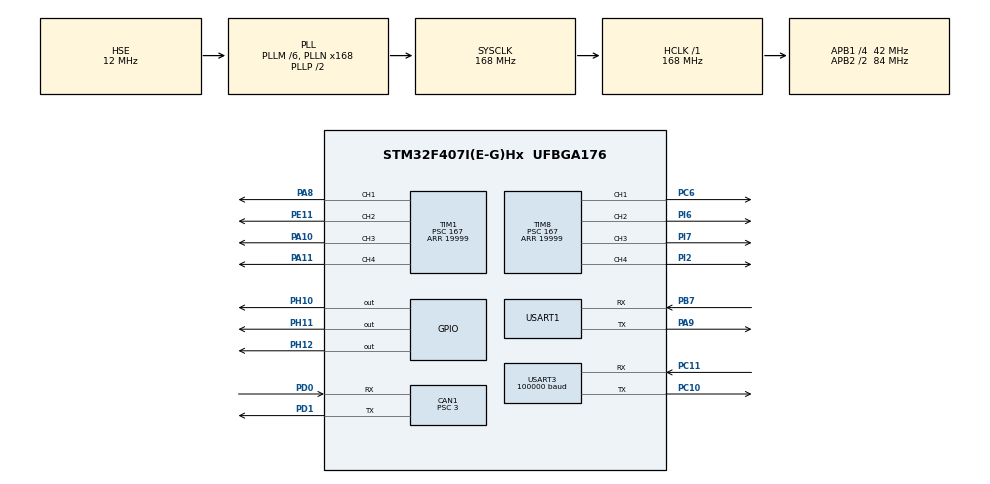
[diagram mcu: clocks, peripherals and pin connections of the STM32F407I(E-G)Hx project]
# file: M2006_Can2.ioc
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CAN1.BS1=CAN_BS1_10TQ
CAN1.BS2=CAN_BS2_3TQ
CAN1.CalculateBaudRate=1000000
CAN1.CalculateTimeBit=1000
CAN1.CalculateTimeQuantum=71.42857142857143
CAN1.Prescaler=3
Dma.Request0=USART3_RX
Dma.Request1=USART1_TX
Dma.USART1_TX.1.Direction=DMA_MEMORY_TO_PERIPH
Dma.USART1_TX.1.FIFOMode=DMA_FIFOMODE_DISABLE
Dma.USART1_TX.1.Instance=DMA2_Stream7
Dma.USART1_TX.1.MemDataAlignment=DMA_MDATAALIGN_BYTE
Dma.USART1_TX.1.MemInc=DMA_MINC_ENABLE
Dma.USART1_TX.1.Mode=DMA_CIRCULAR
Dma.USART1_TX.1.PeriphDataAlignment=DMA_PDATAALIGN_BYTE
Dma.USART1_TX.1.PeriphInc=DMA_PINC_DISABLE
Dma.USART1_TX.1.Priority=DMA_PRIORITY_VERY_HIGH
Dma.USART3_RX.0.Direction=DMA_PERIPH_TO_MEMORY
Dma.USART3_RX.0.FIFOMode=DMA_FIFOMODE_DISABLE
Dma.USART3_RX.0.Instance=DMA1_Stream1
Dma.USART3_RX.0.MemDataAlignment=DMA_MDATAALIGN_BYTE
Dma.USART3_RX.0.MemInc=DMA_MINC_ENABLE
Dma.USART3_RX.0.Mode=DMA_CIRCULAR
Dma.USART3_RX.0.PeriphDataAlignment=DMA_PDATAALIGN_BYTE
Dma.USART3_RX.0.PeriphInc=DMA_PINC_DISABLE
Dma.USART3_RX.0.Priority=DMA_PRIORITY_VERY_HIGH
Mcu.Family=STM32F4
Mcu.Name=STM32F407I(E-G)Hx
Mcu.Package=UFBGA176
NVIC.CAN1_RX0_IRQn=true\:0\:0\:false\:false\:true\:true\:true\:true
NVIC.DMA1_Stream1_IRQn=true\:0\:0\:false\:false\:true\:false\:true\:true
NVIC.DMA2_Stream7_IRQn=true\:0\:0\:false\:false\:true\:false\:true\:true
NVIC.PriorityGroup=NVIC_PRIORITYGROUP_4
NVIC.USART1_IRQn=true\:0\:0\:false\:false\:true\:true\:true\:true
NVIC.USART3_IRQn=true\:0\:0\:false\:false\:true\:true\:true\:true
PA10.Signal=S_TIM1_CH3
PA11.Signal=S_TIM1_CH4
PA13.Mode=Serial_Wire
PA13.Signal=SYS_JTMS-SWDIO
PA14.Mode=Serial_Wire
PA14.Signal=SYS_JTCK-SWCLK
PA8.Signal=S_TIM1_CH1
PA9.Mode=Asynchronous
PA9.Signal=USART1_TX
PB7.Mode=Asynchronous
PB7.Signal=USART1_RX
PC10.Mode=Asynchronous
PC10.Signal=USART3_TX
PC11.Mode=Asynchronous
PC11.Signal=USART3_RX
PC6.Signal=S_TIM8_CH1
PD0.Mode=CAN_Activate
PD0.Signal=CAN1_RX
PD1.Mode=CAN_Activate
PD1.Signal=CAN1_TX
PE11.Signal=S_TIM1_CH2
PH0-OSC_IN.Mode=HSE-External-Oscillator
PH0-OSC_IN.Signal=RCC_OSC_IN
PH1-OSC_OUT.Mode=HSE-External-Oscillator
PH1-OSC_OUT.Signal=RCC_OSC_OUT
PH10.Signal=GPIO_Output
PH11.Signal=GPIO_Output
PH12.Signal=GPIO_Output
PI2.Signal=S_TIM8_CH4
PI6.Signal=S_TIM8_CH2
PI7.Signal=S_TIM8_CH3
ProjectManager.HeapSize=0x200
ProjectManager.StackSize=0x400
ProjectManager.TargetToolchain=MDK-ARM V5
RCC.48MHZClocksFreq_Value=84000000
RCC.AHBFreq_Value=168000000
RCC.APB1CLKDivider=RCC_HCLK_DIV4
RCC.APB1Freq_Value=42000000
RCC.APB1TimFreq_Value=84000000
RCC.APB2CLKDivider=RCC_HCLK_DIV2
RCC.APB2Freq_Value=84000000
RCC.APB2TimFreq_Value=168000000
RCC.CortexFreq_Value=168000000
RCC.HCLKFreq_Value=168000000
RCC.HSE_VALUE=12000000
RCC.HSI_VALUE=16000000
RCC.LSE_VALUE=32768
RCC.PLLM=6
RCC.PLLN=168
RCC.PLLSourceVirtual=RCC_PLLSOURCE_HSE
RCC.SYSCLKFreq_VALUE=168000000
RCC.SYSCLKSource=RCC_SYSCLKSOURCE_PLLCLK
RCC.VCOOutputFreq_Value=336000000
SH.S_TIM1_CH1.0=TIM1_CH1,PWM Generation1 CH1
SH.S_TIM1_CH2.0=TIM1_CH2,PWM Generation2 CH2
SH.S_TIM1_CH3.0=TIM1_CH3,PWM Generation3 CH3
SH.S_TIM1_CH4.0=TIM1_CH4,PWM Generation4 CH4
SH.S_TIM8_CH1.0=TIM8_CH1,PWM Generation1 CH1
SH.S_TIM8_CH2.0=TIM8_CH2,PWM Generation2 CH2
SH.S_TIM8_CH3.0=TIM8_CH3,PWM Generation3 CH3
SH.S_TIM8_CH4.0=TIM8_CH4,PWM Generation4 CH4
TIM1.Channel-PWM\ Generation1\ CH1=TIM_CHANNEL_1
TIM1.Channel-PWM\ Generation2\ CH2=TIM_CHANNEL_2
TIM1.Channel-PWM\ Generation3\ CH3=TIM_CHANNEL_3
TIM1.Channel-PWM\ Generation4\ CH4=TIM_CHANNEL_4
TIM1.Period=19999
TIM1.Prescaler=167
TIM1.Pulse-PWM\ Generation1\ CH1=2000
TIM1.Pulse-PWM\ Generation2\ CH2=2000
TIM1.Pulse-PWM\ Generation3\ CH3=2000
TIM1.Pulse-PWM\ Generation4\ CH4=2000
TIM8.Channel-PWM\ Generation1\ CH1=TIM_CHANNEL_1
TIM8.Channel-PWM\ Generation2\ CH2=TIM_CHANNEL_2
TIM8.Channel-PWM\ Generation3\ CH3=TIM_CHANNEL_3
TIM8.Channel-PWM\ Generation4\ CH4=TIM_CHANNEL_4
TIM8.Period=19999
TIM8.Prescaler=167
TIM8.Pulse-PWM\ Generation1\ CH1=1000
TIM8.Pulse-PWM\ Generation2\ CH2=1000
TIM8.Pulse-PWM\ Generation3\ CH3=2000
TIM8.Pulse-PWM\ Generation4\ CH4=2000
USART1.VirtualMode=VM_ASYNC
USART3.BaudRate=100000
USART3.Mode=MODE_RX
USART3.VirtualMode=VM_ASYNC
VP_TIM1_VS_ClockSourceINT.Mode=Internal
VP_TIM8_VS_ClockSourceINT.Mode=Internal
board=custom

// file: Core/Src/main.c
/* USER CODE BEGIN Header */
/**
  ******************************************************************************
  * @file           : main.c
  * @brief          : Main program body
  ******************************************************************************
  * @attention
  *
  * <h2><center>&copy; Copyright (c) 2021 STMicroelectronics.
  * All rights reserved.</center></h2>
  *
  * This software component is licensed by ST under BSD 3-Clause license,
  * the "License"; You may not use this file except in compliance with the
  * License. You may obtain a copy of the License at:
  *                        opensource.org/licenses/BSD-3-Clause
  *
  ******************************************************************************
  */
/* USER CODE END Header */
#include "main.h"
#include "can.h"
#include "dma.h"
#include "tim.h"
#include "usart.h"
#include "gpio.h"

/* USER CODE BEGIN Includes */
#include "stdio.h"
#include "remote_control.h"
#include "stdarg.h"
#include "bsp_rc.h"
#include "bsp_usart.h"
#include "pid.h"
#include "string.h"
#include "stdlib.h"
/* USER CODE END Includes */

/* USER CODE BEGIN PD */

//获取底盘电机的数据函数
#define get_motor_measure(ptr, data)                                    \
{                                                                   \
		(ptr)->last_ecd = (ptr)->ecd;                                   \
		(ptr)->ecd = (uint16_t)((data)[0] << 8 | (data)[1]);            \
		(ptr)->speed_rpm = (uint16_t)((data)[2] << 8 | (data)[3]);     \
		(ptr)->given_current = (uint16_t)((data)[4] << 8 | (data)[5]);  \
		(ptr)->temperate = (data)[6];                                   \
}
/* USER CODE END PD */

/* USER CODE BEGIN PM */

extern DMA_HandleTypeDef hdma_usart3_rx;
extern DMA_HandleTypeDef hdma_usart1_tx;
const RC_ctrl_t *local_rc_ctrl;
static CAN_TxHeaderTypeDef  Tx_message;
 uint8_t Send_data[8];

/*底盘电机id的结构体*/
 typedef enum
{
    CAN_CHASSIS_ALL_ID = 0x200,
    CAN_3508_M1_ID = 0x201,
    CAN_3508_M2_ID = 0x202,
    CAN_3508_M3_ID = 0x203,
    CAN_3508_M4_ID = 0x204,

    CAN_YAW_MOTOR_ID = 0x205,
    CAN_PIT_MOTOR_ID = 0x206,
    CAN_TRIGGER_MOTOR_ID = 0x207,
    CAN_GIMBAL_ALL_ID = 0x1FF,

} can_msg_id_e;

//底盘电机返回数据的结构体
typedef struct
{
	uint16_t ecd;
	int16_t speed_rpm;
	int16_t given_current;
	uint8_t temperate;
	int16_t last_ecd;
}motor_measure_t;

motor_measure_t motor_chassis[7];
/* USER CODE END PM */

void SystemClock_Config(void);

/* USER CODE BEGIN 0 */

//拨弹电机设置电流的函数
void CAN_current(int16_t motor1, int16_t motor2, int16_t motor3, int16_t motor4)
{
		uint32_t Send_mail_box;
		Tx_message.StdId = CAN_GIMBAL_ALL_ID;
    Tx_message.IDE = CAN_ID_STD;
    Tx_message.RTR = CAN_RTR_DATA;
    Tx_message.DLC = 0x08;
		Send_data[0] = motor1 >> 8;
		Send_data[1] = motor1;
		Send_data[2] = motor2 >> 8;
		Send_data[3] = motor2;
		Send_data[4] = motor3 >> 8;
		Send_data[5] = motor3;
		Send_data[6] = motor4 >> 8;
		Send_data[7] = motor4;

		HAL_CAN_AddTxMessage(&hcan1, &Tx_message, Send_data, &Send_mail_box);
}

//地盘电机设置电流的函数
void CAN_chassis_current(int16_t motor1, int16_t motor2, int16_t motor3, int16_t motor4)
{
		uint32_t Send_mail_box;
		Tx_message.StdId = CAN_CHASSIS_ALL_ID;
    Tx_message.IDE = CAN_ID_STD;
    Tx_message.RTR = CAN_RTR_DATA;
    Tx_message.DLC = 0x08;
		Send_data[0] = motor1 >> 8;
		Send_data[1] = motor1;
		Send_data[2] = motor2 >> 8;
		Send_data[3] = motor2;
		Send_data[4] = motor3 >> 8;
		Send_data[5] = motor3;
		Send_data[6] = motor4 >> 8;
		Send_data[7] = motor4;

		HAL_CAN_AddTxMessage(&hcan1, &Tx_message, Send_data, &Send_mail_box);
}

//接收底盘电机实时数据的函数
void HAL_CAN_RxFifo0MsgPendingCallback(CAN_HandleTypeDef*hcan)
{
	CAN_RxHeaderTypeDef rx_header;
	uint8_t rx_data[8];

	HAL_CAN_GetRxMessage(hcan,CAN_RX_FIFO0,&rx_header,rx_data);

	switch(rx_header.StdId)
	{
		case CAN_3508_M1_ID:
    case CAN_3508_M2_ID:
    case CAN_3508_M3_ID:
    case CAN_3508_M4_ID:
		case CAN_YAW_MOTOR_ID:
    case CAN_PIT_MOTOR_ID:
    case CAN_TRIGGER_MOTOR_ID:
		{
			static uint8_t i = 0;
			i = rx_header.StdId - CAN_3508_M1_ID;
			get_motor_measure(&motor_chassis[i],rx_data);
			break;
		}

		default:
		{
			break;
		}
	}
}

//电机滤波器设置
void can_filter_init(void)
{

    CAN_FilterTypeDef can_filter_st;
    can_filter_st.FilterActivation = ENABLE;
    can_filter_st.FilterMode = CAN_FILTERMODE_IDMASK;
    can_filter_st.FilterScale = CAN_FILTERSCALE_32BIT;
    can_filter_st.FilterIdHigh = 0x0000;
    can_filter_st.FilterIdLow = 0x0000;
    can_filter_st.FilterMaskIdHigh = 0x0000;
    can_filter_st.FilterMaskIdLow = 0x0000;
    can_filter_st.FilterBank = 0;
    can_filter_st.FilterFIFOAssignment = CAN_RX_FIFO0;
    HAL_CAN_ConfigFilter(&hcan1, &can_filter_st);
    HAL_CAN_Start(&hcan1);
    HAL_CAN_ActivateNotification(&hcan1, CAN_IT_RX_FIFO0_MSG_PENDING);

    can_filter_st.SlaveStartFilterBank = 14;
    can_filter_st.FilterBank = 14;

}

motor_measure_t* get_chassis_motor_measure_point(uint8_t i)
{
    return &motor_chassis[(i & 0x03)];
}

float dma_control(uint16_t i)
{
	float speed;
	speed = (float)local_rc_ctrl->rc.ch[i] / 2;
	return speed;

}

float dma_data(uint16_t i)
{
	float speed;
	speed = (float)local_rc_ctrl->rc.ch[i] * 4;
	return speed;

}

void fric_off(void)
{
    __HAL_TIM_SetCompare(&htim1, TIM_CHANNEL_1,1500);
    __HAL_TIM_SetCompare(&htim1, TIM_CHANNEL_2, 1500);
    __HAL_TIM_SetCompare(&htim1, TIM_CHANNEL_3, 1500);
    __HAL_TIM_SetCompare(&htim1, TIM_CHANNEL_4, 1500);
    __HAL_TIM_SetCompare(&htim8, TIM_CHANNEL_1, 1000);
    __HAL_TIM_SetCompare(&htim8, TIM_CHANNEL_2, 1000);
    //__HAL_TIM_SetCompare(&htim8, TIM_CHANNEL_3, 1000);
	__HAL_TIM_SetCompare(&htim8, TIM_CHANNEL_3, 1000);
}
void fric_on(uint16_t cmd)
{
    __HAL_TIM_SetCompare(&htim1, TIM_CHANNEL_1, cmd);
    __HAL_TIM_SetCompare(&htim1, TIM_CHANNEL_2, cmd);
    __HAL_TIM_SetCompare(&htim1, TIM_CHANNEL_3, cmd);
    __HAL_TIM_SetCompare(&htim1, TIM_CHANNEL_4, cmd);
    __HAL_TIM_SetCompare(&htim8, TIM_CHANNEL_1, cmd);
    __HAL_TIM_SetCompare(&htim8, TIM_CHANNEL_2, cmd);
    __HAL_TIM_SetCompare(&htim8, TIM_CHANNEL_3, cmd);
}

double pwm_control_data1()
{
	double date;
	date = 1400 + (double)local_rc_ctrl->rc.ch[2] * 26.0 / 33;
	if(date < 1080)
	{
		date = 1080;
	}
	return date;

}
double pwm_control_data2()
{
	double date;
	date = 1450 + (double)local_rc_ctrl->rc.ch[3] * 4.0 / 11;

	return date;

}

uint8_t RxData[30];
uint8_t TxData[30] = "no picture";
uint8_t rx_up[3];
uint8_t rx_left[3];
uint8_t rx_down[3];
uint8_t rx_right[3];
uint16_t temp_rx[4];

double auto_control_y()
{
	double date;
	date = 1500 + (240 - (double)(temp_rx[0] + temp_rx[2]) / 2) / 2;
	return date;
}

double auto_control_x()
{
	double date;
	date = 1400 + (320 - (double)(temp_rx[1] + temp_rx[3]) / 2) / 2;
	return date;
}

void HAL_UART_RxCpltCallback(UART_HandleTypeDef *huart)
{
	if(huart->Instance == USART1)
	{
		temp_rx[0] = 0;
		temp_rx[1] = 0;
		temp_rx[2] = 0;
		temp_rx[3] = 0;

		if(strcmp(RxData, "  0   0   0   0") == 0)
		{
				HAL_UART_Transmit(&huart1, TxData, sizeof(TxData), 10000);
		}
		else{
				HAL_UART_Transmit(&huart1, RxData, sizeof(RxData), 10000);
			for(uint16_t i = 0, j = 100; i < 3; i++)
					{
						rx_up[i] = RxData[i];
						if(rx_up[i] <= '9' && rx_up[i] >= '0')
						{
							temp_rx[0] += (rx_up[i] - 48) * j;
							j /= 10;
						}
						else{
							j /= 10;
							continue;
						}
					}
					for(uint16_t i = 4, j = 100; i < 7; i++)
					{
						rx_left[i - 4] = RxData[i];
						if(rx_left[i - 4] <= '9' && rx_left[i - 4] >= '0')
						{
							temp_rx[1] += (rx_left[i - 4] - 48) * j;
							j /= 10;
						}
						else{
							j /= 10;
							continue;
						}
					}
					for(uint16_t i = 8, j = 100; i < 11; i++)
					{
						rx_down[i - 8] = RxData[i];
						if(rx_down[i - 8] <= '9' && rx_down[i - 8] >= '0')
						{
							temp_rx[2] += (rx_down[i - 8] - 48) * j;
							j /= 10;
						}
						else{
							j /= 10;
							continue;
						}
					}
					for(uint16_t i = 12, j = 100; i < 15; i++)
					{
						rx_right[i - 12] = RxData[i];
						if(rx_right[i - 12] <= '9' && rx_right[i - 12] >= '0')
						{
							temp_rx[3] += (rx_right[i - 12] - 48) * j;
							j /= 10;
						}
						else{
							j /= 10;
							continue;
						}
					}
//					if(temp_rx[0] == 110 && temp_rx[1] == 222)
//					{
//						HAL_GPIO_WritePin(GPIOH, GPIO_PIN_10, GPIO_PIN_SET);
//						HAL_GPIO_WritePin(GPIOH, GPIO_PIN_11, GPIO_PIN_SET);
//						HAL_GPIO_WritePin(GPIOH, GPIO_PIN_12, GPIO_PIN_SET);
//					}
//					else
//					{
//						HAL_UART_Transmit(&huart1, "arror\n", sizeof("arror\n"), 10000);
//					}
					__HAL_TIM_SetCompare(&htim1,TIM_CHANNEL_1, auto_control_y());
				__HAL_TIM_SetCompare(&htim1,TIM_CHANNEL_2, auto_control_y());
				__HAL_TIM_SetCompare(&htim1,TIM_CHANNEL_3, auto_control_y());
				__HAL_TIM_SetCompare(&htim1,TIM_CHANNEL_4, auto_control_y());

				__HAL_TIM_SetCompare(&htim8,TIM_CHANNEL_3, auto_control_x());
		}
	}
}

/* USER CODE END 0 */

int main(void)
{
  /* USER CODE BEGIN 1 */
	pid_t pid_speed[4];		   //电机速度PID环
	float set_speed_temp;			   //加减速时的临时设定速度
	int16_t delta;					   //设定速度与实际速度的差值
	int16_t max_speed_change = 1000;   //电机单次最大变化速度，加减速用
									   // 500经测试差不多是最大加速区间，即从零打到最大速度不异常的最大值
	static float set_speed[4]; //电机速度全局变量

  /* USER CODE END 1 */

  /* MCU Configuration--------------------------------------------------------*/

  /* Reset of all peripherals, Initializes the Flash interface and the Systick. */
  HAL_Init();

  /* Configure the system clock */
  SystemClock_Config();

  /* Initialize all configured peripherals */
  MX_GPIO_Init();
  MX_DMA_Init();
  MX_USART3_UART_Init();
  MX_USART1_UART_Init();
  MX_CAN1_Init();
  MX_TIM1_Init();
  MX_TIM8_Init();
  /* USER CODE BEGIN 2 */

	HAL_TIM_Base_Start(&htim1);
    HAL_TIM_PWM_Start(&htim1, TIM_CHANNEL_1);
    HAL_TIM_PWM_Start(&htim1, TIM_CHANNEL_2);
    HAL_TIM_PWM_Start(&htim1, TIM_CHANNEL_3);
		HAL_TIM_PWM_Start(&htim1, TIM_CHANNEL_4);
    HAL_TIM_Base_Start(&htim8);
    HAL_TIM_PWM_Start(&htim8, TIM_CHANNEL_1);
    HAL_TIM_PWM_Start(&htim8, TIM_CHANNEL_2);
    HAL_TIM_PWM_Start(&htim8, TIM_CHANNEL_3);
	fric_off();
	HAL_Delay(300);
	__HAL_TIM_SetCompare(&htim8,TIM_CHANNEL_3, 1400);
	__HAL_TIM_SetCompare(&htim1,TIM_CHANNEL_2, 1450);

	can_filter_init();
	HAL_CAN_Start(&hcan1);
		remote_control_init();
    usart1_tx_dma_init();
    local_rc_ctrl = get_remote_control_point();
		//set_speed[0] = 	set_speed[1] = 	set_speed[2] = 	set_speed[3] = 	-200;

//		while(switch_is_up(local_rc_ctrl->rc.s[0]))
//    {
//        fric_on(2000);
//        if(local_rc_ctrl->rc.ch[3] > 600)
//        {
//            fric_on(1000);
//            break;
//        }
//    }

		for (uint16_t i = 0; i < 4; i++)
	{
		PID_struct_init(&pid_speed[i], POSITION_PID, 2000, 2000, 5.0f, 0.1f, 0.0f); //4 motos angular rate closeloop.
	}

  /* USER CODE END 2 */

  /* Infinite loop */
  /* USER CODE BEGIN WHILE */
	int tempPWMvar1 = 1200;
	int tempPWMvar2 = 1500;
	int tempPWMFlagVar = 1;
	int positionPitchNum = 1000;
	int basicCountRE = 0;
	int basicCountFlag = 0;
	uint8_t UART1TransmitNum[20] = {64};
	uint8_t UART1TransmitNumTemp[20] = {0};
	float positionPitchNumF = 0;
				HAL_GPIO_WritePin(GPIOH,GPIO_PIN_10,GPIO_PIN_SET);
				HAL_GPIO_WritePin(GPIOH,GPIO_PIN_11,GPIO_PIN_RESET);

  while (1)
  {
	  /*
	  HAL_Delay(1000);
	  tempPWMFlagVar++;
	  if(tempPWMFlagVar >= 3){
		  __HAL_TIM_SetCompare(&htim8, TIM_CHANNEL_3, tempPWMvar1);
		  tempPWMFlagVar = 1;
	  }else{
		  __HAL_TIM_SetCompare(&htim8, TIM_CHANNEL_3, tempPWMvar2);

	  }
	  */

		if(switch_is_down(local_rc_ctrl->rc.s[1]))
		{
			if(local_rc_ctrl->rc.s[0] == 1)
			{
				set_speed[0] = 	set_speed[1] = 	set_speed[2] = 	set_speed[3] = 	dma_data(0);
				set_speed[0] += dma_control(3);
				set_speed[2] += dma_control(3);
			}
			else if(local_rc_ctrl->rc.s[0] == 2)
			{
				//set_speed[0] = 	set_speed[1] = 	set_speed[2] = 	set_speed[3] = dma_data(0);
			set_speed[0] = 	set_speed[3] = dma_data(1);
				set_speed[1] = 	set_speed[2] = -dma_data(3);
			}
			else if(local_rc_ctrl->rc.s[0] == 3)
			{
				set_speed[0] = 	-dma_data(3) + dma_data(2) + dma_data(0);
				set_speed[1] = 	dma_data(3) + dma_data(2) + dma_data(0);
				set_speed[2] = 	dma_data(3) - dma_data(2) + dma_data(0);
				set_speed[3] = 	-dma_data(3) - dma_data(2) + dma_data(0);
			}
				// 无加减速
				//pid_calc(&pid_speed[i], (float)moto_chassis[i].speed_rpm, set_speed[i]);

				//加减速
			for (uint16_t i = 0; i < 5; i++)
			{
				delta = (int16_t)set_speed[i] - motor_chassis[i].speed_rpm;
				if (delta > max_speed_change)
					set_speed_temp = (float)(motor_chassis[i].speed_rpm + max_speed_change);
				else if (delta < -max_speed_change)
					set_speed_temp = (float)(motor_chassis[i].speed_rpm - max_speed_change);
				else
					set_speed_temp = set_speed[i];
				pid_calc(&pid_speed[i], (float)motor_chassis[i].speed_rpm, set_speed_temp);
			}

			CAN_chassis_current((int16_t)(pid_speed[0].pos_out),
							 (int16_t)(pid_speed[1].pos_out),
							 (int16_t)(pid_speed[2].pos_out),
							 (int16_t)(pid_speed[3].pos_out));

				//HAL_Delay(2);
				/*snail电机*/
				fp32 pwm;
				pwm = 1000.0f + local_rc_ctrl->rc.ch[1];
//				__HAL_TIM_SetCompare(&htim8, TIM_CHANNEL_1, (uint16_t)(pwm));
//				__HAL_TIM_SetCompare(&htim8, TIM_CHANNEL_2, (uint16_t)(pwm));

				//__HAL_TIM_SetCompare(&htim8, TIM_CHANNEL_1, 1240);
				//__HAL_TIM_SetCompare(&htim8, TIM_CHANNEL_2, 1240);
//				fric_on((uint16_t)(pwm));
//
				/*拨弹电机*/
 				CAN_current(0, 0, (int16_t)local_rc_ctrl->rc.ch[4] * 1.5, 0);	//将ch[1]换绑为ch[4]
				//HAL_Delay(2);

				/*云台*/
//				__HAL_TIM_SetCompare(&htim1,TIM_CHANNEL_1, pwm_control_data2());
//				__HAL_TIM_SetCompare(&htim1,TIM_CHANNEL_2, pwm_control_data2());
//				__HAL_TIM_SetCompare(&htim1,TIM_CHANNEL_3, pwm_control_data2());
//				__HAL_TIM_SetCompare(&htim1,TIM_CHANNEL_4, pwm_control_data2());
//				__HAL_TIM_SetCompare(&htim1,TIM_CHANNEL_1, 1400);
//				__HAL_TIM_SetCompare(&htim1,TIM_CHANNEL_2, 1400);
//				__HAL_TIM_SetCompare(&htim1,TIM_CHANNEL_3, 1400);
//				__HAL_TIM_SetCompare(&htim1,TIM_CHANNEL_4, 1400);
//				//HAL_Delay(2);

//				__HAL_TIM_SetCompare(&htim8,TIM_CHANNEL_3, 1500);
//				HAL_Delay(2);
			//positionPitchNumF = (float)local_rc_ctrl->rc.ch[4];	//遥控器拨盘
			positionPitchNumF = (float)local_rc_ctrl->rc.ch[1];
			positionPitchNum = positionPitchNumF;
			UART1TransmitNum[1] = 61;//=

			if (positionPitchNum < 0){
				if (positionPitchNum < -600){
					positionPitchNum = -600;
				}
				positionPitchNum = positionPitchNum/1.2;
				//positionPitchNum = 600 + positionPitchNum;
				//positionPitchNum = positionPitchNum * (-1);

				positionPitchNum = positionPitchNum + 1450;
				UART1TransmitNum[1] = 45;//-

				positionPitchNum = abs(positionPitchNum);
			}else{
				if (positionPitchNum > 600){
					positionPitchNum = 600;
				}
				positionPitchNum = positionPitchNum/1.2;

				positionPitchNum = positionPitchNum + 1450;
				UART1TransmitNum[1] = 43;//+
				positionPitchNum = abs(positionPitchNum);
			}

			if (positionPitchNum > 1800){
				positionPitchNum = 1800;
			}
			else if(positionPitchNum <1200){
				positionPitchNum = 1200;
			}

			positionPitchNum = abs(positionPitchNum);

			basicCountRE = positionPitchNum;
			HAL_GPIO_WritePin(GPIOH,GPIO_PIN_10,GPIO_PIN_RESET);
			HAL_GPIO_WritePin(GPIOH,GPIO_PIN_11,GPIO_PIN_SET);
			for (basicCountFlag = 10;basicCountRE != 0;basicCountFlag--){
				UART1TransmitNum[basicCountFlag] = basicCountRE%10 + 48;
		        basicCountRE = basicCountRE/10 ;

			}

			if ((float)local_rc_ctrl->rc.ch[4] > 150){
				__HAL_TIM_SetCompare(&htim8, TIM_CHANNEL_1, 1240);
				__HAL_TIM_SetCompare(&htim8, TIM_CHANNEL_2, 1240);
			}else if((float)local_rc_ctrl->rc.ch[4] < -150){
				__HAL_TIM_SetCompare(&htim8, TIM_CHANNEL_1, 1240);
				__HAL_TIM_SetCompare(&htim8, TIM_CHANNEL_2, 1240);
			}else{
				__HAL_TIM_SetCompare(&htim8, TIM_CHANNEL_1, 1240);
				__HAL_TIM_SetCompare(&htim8, TIM_CHANNEL_2, 1240);
			}

			UART1TransmitNum[19] = 10;//\n
			//HAL_UART_Transmit(&huart1,UART1TransmitNum,20, HAL_MAX_DELAY);
			__HAL_TIM_SetCompare(&htim8,TIM_CHANNEL_3, positionPitchNum);
			//HAL_Delay(5);
			/*
			if (positionPitchNum > 1000){
			}
			else if(positionPitchNum){
			}
			else if(positionPitchNum){
			}
			*/

			}
			else if(switch_is_mid(local_rc_ctrl->rc.s[1]))
			{
				HAL_UART_Receive_IT(&huart1, RxData, 15);
			}
		}
	}
    /* USER CODE END WHILE */

void SystemClock_Config(void)
{
  RCC_OscInitTypeDef RCC_OscInitStruct = {0};
  RCC_ClkInitTypeDef RCC_ClkInitStruct = {0};

  /** Configure the main internal regulator output voltage
  */
  __HAL_RCC_PWR_CLK_ENABLE();
  __HAL_PWR_VOLTAGESCALING_CONFIG(PWR_REGULATOR_VOLTAGE_SCALE1);
  /** Initializes the RCC Oscillators according to the specified parameters
  * in the RCC_OscInitTypeDef structure.
  */
  RCC_OscInitStruct.OscillatorType = RCC_OSCILLATORTYPE_HSE;
  RCC_OscInitStruct.HSEState = RCC_HSE_ON;
  RCC_OscInitStruct.PLL.PLLState = RCC_PLL_ON;
  RCC_OscInitStruct.PLL.PLLSource = RCC_PLLSOURCE_HSE;
  RCC_OscInitStruct.PLL.PLLM = 6;
  RCC_OscInitStruct.PLL.PLLN = 168;
  RCC_OscInitStruct.PLL.PLLP = RCC_PLLP_DIV2;
  RCC_OscInitStruct.PLL.PLLQ = 4;
  if (HAL_RCC_OscConfig(&RCC_OscInitStruct) != HAL_OK)
  {
    Error_Handler();
  }
  /** Initializes the CPU, AHB and APB buses clocks
  */
  RCC_ClkInitStruct.ClockType = RCC_CLOCKTYPE_HCLK|RCC_CLOCKTYPE_SYSCLK
                              |RCC_CLOCKTYPE_PCLK1|RCC_CLOCKTYPE_PCLK2;
  RCC_ClkInitStruct.SYSCLKSource = RCC_SYSCLKSOURCE_PLLCLK;
  RCC_ClkInitStruct.AHBCLKDivider = RCC_SYSCLK_DIV1;
  RCC_ClkInitStruct.APB1CLKDivider = RCC_HCLK_DIV4;
  RCC_ClkInitStruct.APB2CLKDivider = RCC_HCLK_DIV2;

  if (HAL_RCC_ClockConfig(&RCC_ClkInitStruct, FLASH_LATENCY_5) != HAL_OK)
  {
    Error_Handler();
  }
}

void Error_Handler(void)
{
  __disable_irq();
  while (1)
  {
  }
}

/************************ (C) COPYRIGHT STMicroelectronics *****END OF FILE****/
